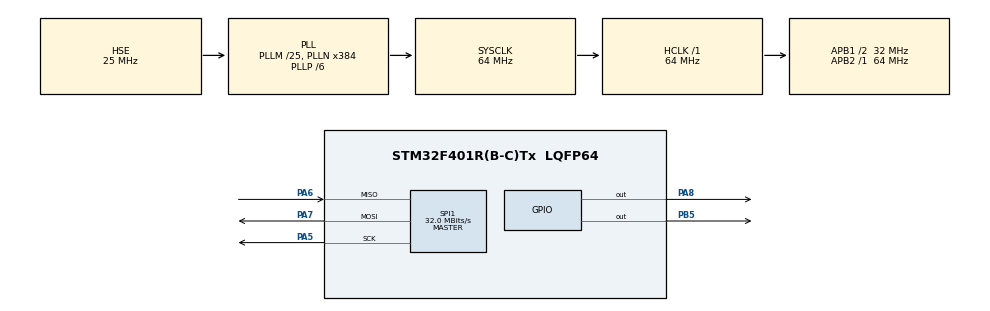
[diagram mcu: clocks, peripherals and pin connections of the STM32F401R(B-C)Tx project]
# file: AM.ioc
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Mcu.Family=STM32F4
Mcu.Name=STM32F401R(B-C)Tx
Mcu.Package=LQFP64
NVIC.PriorityGroup=NVIC_PRIORITYGROUP_4
PA5.Mode=Full_Duplex_Master
PA5.Signal=SPI1_SCK
PA6.Mode=Full_Duplex_Master
PA6.Signal=SPI1_MISO
PA7.Mode=Full_Duplex_Master
PA7.Signal=SPI1_MOSI
PA8.GPIO_Speed=GPIO_SPEED_FREQ_HIGH
PA8.PinState=GPIO_PIN_SET
PA8.Signal=GPIO_Output
PB5.GPIO_Speed=GPIO_SPEED_FREQ_HIGH
PB5.PinState=GPIO_PIN_SET
PB5.Signal=GPIO_Output
PH0\ -\ OSC_IN.Mode=HSE-External-Oscillator
PH0\ -\ OSC_IN.Signal=RCC_OSC_IN
PH1\ -\ OSC_OUT.Mode=HSE-External-Oscillator
PH1\ -\ OSC_OUT.Signal=RCC_OSC_OUT
ProjectManager.HeapSize=0x200
ProjectManager.StackSize=0x400
ProjectManager.TargetToolchain=STM32CubeIDE
RCC.48MHZClocksFreq_Value=32000000
RCC.AHBFreq_Value=64000000
RCC.APB1CLKDivider=RCC_HCLK_DIV2
RCC.APB1Freq_Value=32000000
RCC.APB1TimFreq_Value=64000000
RCC.APB2Freq_Value=64000000
RCC.APB2TimFreq_Value=64000000
RCC.CortexFreq_Value=64000000
RCC.HCLKFreq_Value=64000000
RCC.HSE_VALUE=25000000
RCC.HSI_VALUE=16000000
RCC.LSE_VALUE=32768
RCC.PLLM=25
RCC.PLLN=128
RCC.PLLSourceVirtual=RCC_PLLSOURCE_HSE
RCC.SYSCLKFreq_VALUE=64000000
RCC.SYSCLKSource=RCC_SYSCLKSOURCE_PLLCLK
RCC.VCOOutputFreq_Value=128000000
SPI1.BaudRatePrescaler=SPI_BAUDRATEPRESCALER_2
SPI1.CalculateBaudRate=32.0 MBits/s
SPI1.Direction=SPI_DIRECTION_2LINES
SPI1.Mode=SPI_MODE_MASTER
SPI1.VirtualType=VM_MASTER
board=custom

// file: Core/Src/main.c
/* USER CODE BEGIN Header */
/**
  ******************************************************************************
  * @file           : main.c
  * @brief          : WIZ850io W5500 UDP test — STM32F401RCT6 @ 64 MHz
  ******************************************************************************
  */
/* USER CODE END Header */

#include "main.h"

/* USER CODE BEGIN Includes */
#include "wiz5500.h"
#include <stdint.h>
#include <string.h>
/* USER CODE END Includes */

/* USER CODE BEGIN PD */
#define BATCH_FRAMES        4u
#define CHANNELS            16u
#define FRAME_SIZE          36u     /* 4 sync bytes + 16 ch * 2 bytes */
#define BATCH_SIZE          (BATCH_FRAMES * FRAME_SIZE)  /* 144 bytes */
#define SEND_INTERVAL_MS    10u     /* 100 pkt/s */
#define RAMP_STEP           100
/* USER CODE END PD */

/* USER CODE BEGIN PM */
#define ETH_CS_LOW()   HAL_GPIO_WritePin(GPIOA, GPIO_PIN_8, GPIO_PIN_RESET)
#define ETH_CS_HIGH()  HAL_GPIO_WritePin(GPIOA, GPIO_PIN_8, GPIO_PIN_SET)
/* USER CODE END PM */

SPI_HandleTypeDef hspi1;

void SystemClock_Config(void);
static void MX_GPIO_Init(void);
static void MX_SPI1_Init(void);

/* USER CODE BEGIN PFP */
static void Build_Frame(uint8_t *frame, uint32_t batch, uint8_t fi, int16_t ramp);
/* USER CODE END PFP */

/* USER CODE BEGIN 0 */
static void Build_Frame(uint8_t *frame, uint32_t batch, uint8_t fi, int16_t ramp)
{
    frame[0] = 0xDE; frame[1] = 0xAD; frame[2] = 0xBE; frame[3] = 0xEF;
    int16_t ch[16];
    ch[0]  =  ramp;  ch[1]  = -ramp;
    ch[2]  =  2500;  ch[3]  = -2500;
    ch[4] = ch[5] = ch[6] = ch[7]   = (int16_t)fi;
    ch[8] = ch[9] = ch[10] = ch[11] = (int16_t)(batch & 0x7FFF);
    ch[12] = 0x1234; ch[13] = 0x2345;
    ch[14] = 0x3456; ch[15] = 0x4567;
    for (int i = 0; i < 16; i++) {
        frame[4 + i*2]   = (uint8_t)((uint16_t)ch[i] >> 8);
        frame[4 + i*2+1] = (uint8_t)((uint16_t)ch[i] & 0xFF);
    }
}
/* USER CODE END 0 */

int main(void)
{

  HAL_Init();
  SystemClock_Config();
  MX_GPIO_Init();
  MX_SPI1_Init();

  /* USER CODE BEGIN 2 */

  /* Init W5500 */
  WIZ5500_Config eth_cfg = {
      .mac       = { 0x00, 0x08, 0xDC, 0x11, 0x22, 0x33 },
      .ip        = { 192, 168,   1,  20 },
      .subnet    = { 255, 255, 255,   0 },
      .gateway   = { 192, 168,   1,   1 },
      .dest_ip   = { 192, 168,   1, 100 },
      .dest_port = 5002u,
      .src_port  = 5001u,
  };
  WIZ5500_Init(&eth_cfg);

  /* Verify W5500 version register — must return 0x04, else SPI wiring fault */
  {
      uint8_t hdr[3] = {
          (uint8_t)(W5500_VERSIONR >> 8),
          (uint8_t)(W5500_VERSIONR & 0xFF),
          W5500_CTRL_CMN_R
      };
      uint8_t ver = 0;
      ETH_CS_LOW();
      HAL_SPI_Transmit(&hspi1, hdr, 3, 10);
      HAL_SPI_Receive (&hspi1, &ver, 1, 10);
      ETH_CS_HIGH();
      if (ver != 0x04) Error_Handler();
  }

  /* Open UDP socket */
  if (WIZ5500_SetupSocket0() != WIZ5500_OK)
      Error_Handler();

  uint32_t batch   = 0;
  uint32_t last_ms = 0;
  uint32_t sent_ok = 0;   /* watch in debugger */
  uint32_t drops   = 0;   /* watch in debugger */
  static uint8_t tx_buf[BATCH_SIZE];

  /* USER CODE END 2 */

  /* USER CODE BEGIN WHILE */
  while (1)
  {
      uint32_t now = HAL_GetTick();
      if ((now - last_ms) >= SEND_INTERVAL_MS)
      {
          last_ms = now;

          int32_t raw  = (int32_t)(batch * (uint32_t)RAMP_STEP) & 0xFFFF;
          int16_t ramp = (int16_t)(raw > 32767 ? 65535 - raw : raw);

          for (uint8_t fi = 0; fi < BATCH_FRAMES; fi++)
              Build_Frame(tx_buf + fi * FRAME_SIZE, batch, fi, ramp);

          WIZ5500_Status result = WIZ5500_SendBatch(tx_buf, BATCH_SIZE);
          if (result == WIZ5500_OK)
              sent_ok++;
          else
              drops = result;

          batch++;
      }
      (void)sent_ok;
      (void)drops;
    /* USER CODE END WHILE */

  }
}

void SystemClock_Config(void)
{
  RCC_OscInitTypeDef RCC_OscInitStruct = {0};
  RCC_ClkInitTypeDef RCC_ClkInitStruct = {0};

  __HAL_RCC_PWR_CLK_ENABLE();
  __HAL_PWR_VOLTAGESCALING_CONFIG(PWR_REGULATOR_VOLTAGE_SCALE2);

  RCC_OscInitStruct.OscillatorType = RCC_OSCILLATORTYPE_HSE;
  RCC_OscInitStruct.HSEState       = RCC_HSE_ON;
  RCC_OscInitStruct.PLL.PLLState   = RCC_PLL_ON;
  RCC_OscInitStruct.PLL.PLLSource  = RCC_PLLSOURCE_HSE;
  RCC_OscInitStruct.PLL.PLLM       = 25;               /* VCO in  = 25/25 = 1 MHz   */
  RCC_OscInitStruct.PLL.PLLN       = 384;              /* VCO out = 384 MHz         */
  RCC_OscInitStruct.PLL.PLLP       = RCC_PLLP_DIV6;   /* SYSCLK  = 384/6 = 64 MHz  */
  RCC_OscInitStruct.PLL.PLLQ       = 8;                /* USB     = 384/8 = 48 MHz  */
  if (HAL_RCC_OscConfig(&RCC_OscInitStruct) != HAL_OK)
  {
    Error_Handler();
  }

  RCC_ClkInitStruct.ClockType      = RCC_CLOCKTYPE_HCLK|RCC_CLOCKTYPE_SYSCLK
                                   |RCC_CLOCKTYPE_PCLK1|RCC_CLOCKTYPE_PCLK2;
  RCC_ClkInitStruct.SYSCLKSource   = RCC_SYSCLKSOURCE_PLLCLK;
  RCC_ClkInitStruct.AHBCLKDivider  = RCC_SYSCLK_DIV1;
  RCC_ClkInitStruct.APB1CLKDivider = RCC_HCLK_DIV2;   /* APB1 = 32 MHz */
  RCC_ClkInitStruct.APB2CLKDivider = RCC_HCLK_DIV1;   /* APB2 = 64 MHz */

  if (HAL_RCC_ClockConfig(&RCC_ClkInitStruct, FLASH_LATENCY_2) != HAL_OK)
  {
    Error_Handler();
  }
}

/**
  * @brief SPI1 Initialization — 32 MHz, Mode 0, MSB first
  */
static void MX_SPI1_Init(void)
{

  hspi1.Instance               = SPI1;
  hspi1.Init.Mode              = SPI_MODE_MASTER;
  hspi1.Init.Direction         = SPI_DIRECTION_2LINES;
  hspi1.Init.DataSize          = SPI_DATASIZE_8BIT;
  hspi1.Init.CLKPolarity       = SPI_POLARITY_LOW;
  hspi1.Init.CLKPhase          = SPI_PHASE_1EDGE;
  hspi1.Init.NSS               = SPI_NSS_SOFT;
  hspi1.Init.BaudRatePrescaler = SPI_BAUDRATEPRESCALER_2;  /* 64/2 = 32 MHz */
  hspi1.Init.FirstBit          = SPI_FIRSTBIT_MSB;
  hspi1.Init.TIMode            = SPI_TIMODE_DISABLE;
  hspi1.Init.CRCCalculation    = SPI_CRCCALCULATION_DISABLE;
  hspi1.Init.CRCPolynomial     = 10;
  if (HAL_SPI_Init(&hspi1) != HAL_OK)
  {
    Error_Handler();
  }

}

/**
  * @brief GPIO Initialization
  * PA8 = ETH_CS  (starts HIGH — deasserted)
  * PB5 = ETH_RST (starts HIGH — not in reset)
  */
static void MX_GPIO_Init(void)
{
  GPIO_InitTypeDef GPIO_InitStruct = {0};

  __HAL_RCC_GPIOH_CLK_ENABLE();
  __HAL_RCC_GPIOA_CLK_ENABLE();
  __HAL_RCC_GPIOB_CLK_ENABLE();

  /* PA8 ETH_CS — HIGH before configuring as output so it never glitches low */
  HAL_GPIO_WritePin(GPIOA, GPIO_PIN_8, GPIO_PIN_SET);
  GPIO_InitStruct.Pin   = GPIO_PIN_8;
  GPIO_InitStruct.Mode  = GPIO_MODE_OUTPUT_PP;
  GPIO_InitStruct.Pull  = GPIO_NOPULL;
  GPIO_InitStruct.Speed = GPIO_SPEED_FREQ_HIGH;
  HAL_GPIO_Init(GPIOA, &GPIO_InitStruct);

  /* PB5 ETH_RST — HIGH before configuring as output */
  HAL_GPIO_WritePin(GPIOB, GPIO_PIN_5, GPIO_PIN_SET);
  GPIO_InitStruct.Pin   = GPIO_PIN_5;
  GPIO_InitStruct.Mode  = GPIO_MODE_OUTPUT_PP;
  GPIO_InitStruct.Pull  = GPIO_NOPULL;
  GPIO_InitStruct.Speed = GPIO_SPEED_FREQ_LOW;
  HAL_GPIO_Init(GPIOB, &GPIO_InitStruct);

}

void Error_Handler(void)
{
  __disable_irq();
  while (1) { }
}
